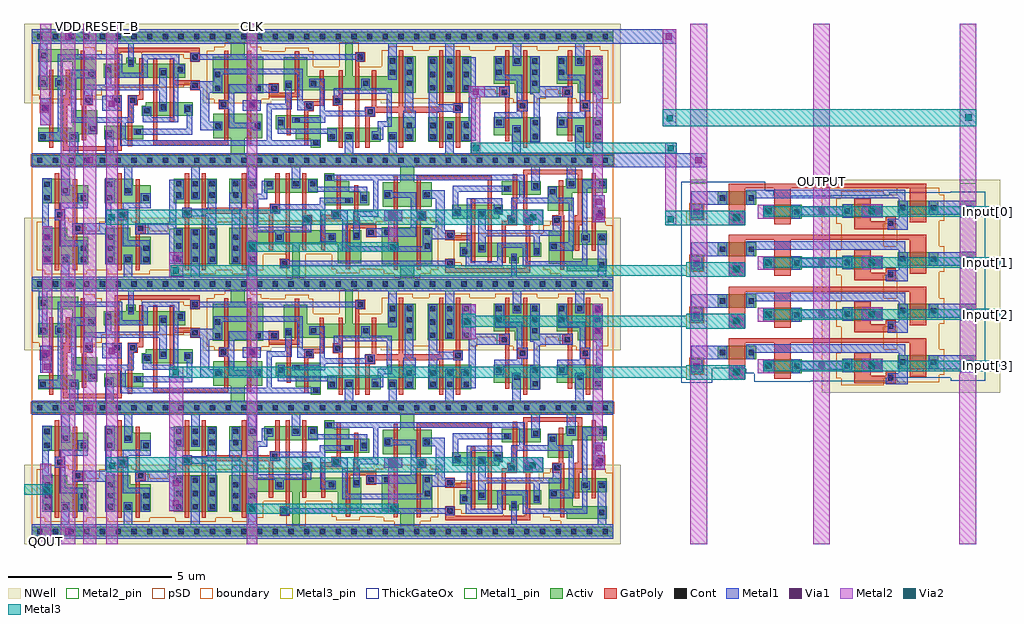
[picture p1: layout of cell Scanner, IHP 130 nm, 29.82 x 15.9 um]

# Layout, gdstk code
from math import pi, radians
import gdstk
lib = gdstk.Library(unit=1e-6, precision=1e-09)
def R(c, l, rs):  # rectangles x0, y0, x1, y1
    for r in rs: c.add(gdstk.rectangle(r[:2], r[2:], *l))
def A(c, l, x, y, w, h, nx, ny, dx, dy):  # array of equal rectangles
    R(c, l, [(x+i*dx, y+j*dy, x+i*dx+w, y+j*dy+h) for i in range(nx) for j in range(ny)])
Activ = (1, 0)
GatPoly = (5, 0)
Cont = (6, 0)
Metal1 = (8, 0)
Metal1_pin = (8, 2)
Metal2 = (10, 0)
Metal2_pin = (10, 2)
pSD = (14, 0)
Via1 = (19, 0)
Via2 = (29, 0)
Metal3 = (30, 0)
Metal3_pin = (30, 2)
NWell = (31, 0)
ThickGateOx = (44, 0)
boundary = (189, 4)

sg13g2_dfrbp_1 = lib.new_cell('sg13g2_dfrbp_1')
R(sg13g2_dfrbp_1, Activ, [(0,-0.15,13.92,0.15), (6.075,0.15,6.505,0.675), (8.52,0.39,8.82,0.635), (0.19,0.57,1.445,0.795), (9.03,0.57,10.66,0.99), (10.87,0.57,11.725,1.31), (12.105,0.57,13.425,1.31), (2.215,0.635,3.4,1.055), (8.06,0.635,8.82,0.955), (5.535,0.675,7.045,1.415), (0.19,0.795,2,0.99), (7.445,0.955,8.82,1.375), (1.245,0.99,2,1.535), (3.365,1.36,4.91,1.66), (3.475,1.66,4.91,1.78), (5.53,2.05,7.07,3.17), (10.87,2.06,11.725,2.145), (12.1,2.06,13.425,3.18), (7.695,2.145,11.725,2.565), (0.19,2.16,1.96,2.58), (2.19,2.525,4.685,2.945), (7.695,2.565,8.415,3.145), (9.57,2.565,9.81,3.63), (10.87,2.565,11.725,3.18), (1.24,2.58,1.96,3.01), (2.88,2.945,3.18,3.14), (0.19,3.01,1.96,3.16), (0.19,3.16,1.415,3.395), (6.075,3.17,6.505,3.63), (0,3.63,13.92,3.93)])
R(sg13g2_dfrbp_1, GatPoly, [(0.95,0.295,2.75,0.43), (0.53,0.39,0.66,1.455), (9.37,0.39,9.5,1.67), (9.88,0.39,10.01,3.005), (10.19,0.39,10.32,1.335), (11.21,0.39,11.34,1.45), (12.445,0.39,12.575,1.45), (12.955,0.39,13.085,1.445), (2.93,0.425,3.06,1.685), (0.95,0.43,1.08,1.685), (2.62,0.43,2.75,1.685), (8.32,0.445,8.45,1.505), (3.705,0.465,6.005,0.605), (6.575,0.495,6.705,1.555), (3.705,0.605,3.835,3.125), (5.875,0.605,6.005,1.555), (1.53,0.615,1.66,1.685), (7.785,0.765,7.915,1.92), (4.215,1.18,4.345,2.29), (10.19,1.335,10.49,1.45), (12.87,1.445,13.17,1.745), (10.19,1.45,12.575,1.635), (0.235,1.455,0.66,1.755), (8.32,1.505,8.62,1.66), (5.705,1.555,6.005,1.855), (6.575,1.555,6.875,1.855), (10.39,1.635,10.52,2.745), (11.21,1.635,11.34,3.36), (12.445,1.635,12.575,3.36), (8.32,1.66,8.925,1.805), (9.2,1.67,9.5,1.97), (0.95,1.685,1.17,1.98), (1.49,1.685,1.865,1.985), (2.45,1.685,2.75,1.985), (2.93,1.685,3.23,1.855), (12.955,1.745,13.085,3.36), (0.53,1.755,0.66,2.76), (8.795,1.805,8.925,2.745), (2.93,1.855,3.405,1.985), (5.875,1.855,6.005,3.35), (6.575,1.855,6.705,3.35), (7.245,1.92,8.165,2.07), (9.37,1.97,9.5,2.745), (1.04,1.98,1.17,2.76), (1.49,1.985,1.62,3.34), (2.54,1.985,2.67,3.305), (3.275,1.985,3.405,3.125), (7.245,2.07,7.545,2.35), (8.035,2.07,8.165,3.325), (4.835,2.14,5.135,2.29), (4.215,2.29,5.135,2.44), (4.215,2.44,4.345,3.125), (4.835,3.005,5.135,3.305), (9.88,3.005,10.18,3.305), (2.54,3.305,5.135,3.435)])
A(sg13g2_dfrbp_1, Cont, 0.16, -0.08, 0.16, 0.16, 29, 2, 0.48, 3.78)
A(sg13g2_dfrbp_1, Cont, 10.43, 0.64, 0.16, 0.16, 3, 1, 0.51, 0)
A(sg13g2_dfrbp_1, Cont, 12.175, 0.64, 0.16, 0.16, 3, 2, 0.51, 0.34)
A(sg13g2_dfrbp_1, Cont, 12.17, 2.135, 0.16, 0.16, 1, 3, 0, 0.405)
A(sg13g2_dfrbp_1, Cont, 12.685, 2.135, 0.16, 0.16, 1, 3, 0, 0.405)
A(sg13g2_dfrbp_1, Cont, 13.195, 2.135, 0.16, 0.16, 1, 3, 0, 0.405)
A(sg13g2_dfrbp_1, Cont, 11.45, 2.27, 0.16, 0.16, 1, 3, 0, 0.34)
R(sg13g2_dfrbp_1, Cont, [(8.59,0.465,8.75,0.625), (0.26,0.64,0.42,0.8), (1.19,0.64,1.35,0.8), (9.1,0.64,9.26,0.8), (9.61,0.64,9.77,0.8), (2.285,0.705,2.445,0.865), (3.17,0.795,3.33,0.955), (1.77,0.88,1.93,1.04), (5.605,0.97,5.765,1.13), (6.815,0.97,6.975,1.13), (11.45,0.98,11.61,1.14), (7.515,1.075,7.675,1.235), (8.025,1.145,8.185,1.305), (10.26,1.405,10.42,1.565), (3.435,1.43,3.595,1.59), (4.68,1.49,4.84,1.65), (12.94,1.515,13.1,1.675), (0.305,1.525,0.465,1.685), (3.945,1.55,4.105,1.71), (8.39,1.575,8.55,1.735), (5.775,1.625,5.935,1.785), (6.645,1.625,6.805,1.785), (9.27,1.74,9.43,1.9), (1.635,1.755,1.795,1.915), (2.52,1.755,2.68,1.915), (3,1.755,3.16,1.915), (5.6,2.12,5.76,2.28), (6.84,2.12,7,2.28), (7.315,2.12,7.475,2.28), (4.905,2.21,5.065,2.37), (7.765,2.215,7.925,2.375), (8.525,2.275,8.685,2.435), (10.12,2.275,10.28,2.435), (0.26,2.29,0.42,2.45), (0.77,2.29,0.93,2.45), (5.6,2.54,5.76,2.7), (1.73,2.55,1.89,2.71), (3.945,2.595,4.105,2.755), (10.94,2.61,11.1,2.77), (2.26,2.69,2.42,2.85), (4.455,2.705,4.615,2.865), (2.95,2.91,3.11,3.07), (10.94,2.95,11.1,3.11), (4.905,3.075,5.065,3.235), (9.95,3.075,10.11,3.235), (0.265,3.12,0.425,3.28)])
R(sg13g2_dfrbp_1, Metal1, [(0,-0.22,13.92,0.22), (1.14,0.22,1.41,0.85), (2.235,0.22,2.495,0.915), (9.56,0.22,9.82,0.85), (10.91,0.22,11.15,0.85), (12.635,0.22,12.895,1.19), (2.705,0.44,8.8,0.605), (0.21,0.59,0.95,0.85), (9.05,0.59,9.31,0.805), (11.4,0.59,11.66,0.99), (12.125,0.59,12.385,1.485), (13.125,0.59,13.56,1.19), (2.705,0.605,2.875,1.15), (7.17,0.605,7.33,1.555), (8.54,0.605,8.8,0.625), (10.38,0.625,10.73,0.885), (3.12,0.785,4.905,0.96), (7.51,0.805,9.31,0.965), (1.72,0.815,1.98,1.15), (0.785,0.85,0.95,2.24), (10.57,0.885,10.73,1.03), (5.145,0.92,5.815,1.18), (6.755,0.92,6.99,0.98), (4.725,0.96,4.905,1.44), (7.51,0.965,7.725,1.31), (6.02,0.98,6.99,1.14), (11.34,0.99,11.725,1.52), (10.57,1.03,11,1.19), (0.255,1.07,0.6,1.89), (6.02,1.14,6.18,1.575), (6.755,1.14,6.99,1.18), (7.96,1.145,8.97,1.315), (1.2,1.15,3.11,1.31), (3.385,1.16,4.48,1.32), (5.145,1.18,5.42,2.07), (10.84,1.19,11,2.035), (13.35,1.19,13.56,2.095), (1.2,1.31,1.36,2.5), (2.95,1.31,3.11,1.705), (8.79,1.315,8.97,1.35), (3.385,1.32,3.645,1.64), (4.32,1.32,4.48,2.655), (8.79,1.35,10.47,1.51), (4.66,1.44,4.905,1.7), (12.87,1.445,13.17,1.485), (12.125,1.485,13.17,1.71), (3.895,1.5,4.115,2.145), (2.145,1.51,2.75,1.965), (8.79,1.51,8.95,2.225), (10.165,1.51,10.47,1.625), (6.45,1.52,6.99,1.84), (11.4,1.52,11.66,3.155), (8.115,1.525,8.6,1.785), (7.17,1.555,7.935,1.725), (5.725,1.575,6.18,1.835), (9.22,1.69,9.48,2.035), (1.585,1.705,1.845,2.145), (2.95,1.705,3.21,1.965), (12.125,1.71,12.385,3.155), (12.87,1.71,13.17,1.745), (7.745,1.725,7.935,2.425), (8.115,1.785,8.275,2.63), (6.02,1.835,6.18,2.07), (9.22,2.035,11,2.195), (5.145,2.07,5.81,2.16), (6.02,2.07,7.525,2.33), (13.145,2.095,13.56,3.155), (12.63,2.1,12.9,3.56), (1.585,2.145,4.115,2.305), (4.855,2.16,5.81,2.42), (10.07,2.195,10.33,2.495), (8.475,2.225,8.95,2.485), (0.215,2.24,0.475,3.56), (0.72,2.24,0.98,2.5), (2.245,2.305,4.115,2.315), (2.245,2.315,2.425,2.9), (3.895,2.315,4.115,2.805), (5.55,2.42,5.81,2.63), (10.89,2.46,11.15,3.56), (0.785,2.5,0.95,3.08), (1.2,2.5,1.94,2.76), (2.605,2.52,3.535,2.68), (5.55,2.63,8.275,2.8), (4.32,2.655,4.665,2.915), (2.605,2.68,2.765,3.08), (3.365,2.68,3.535,3.08), (2.945,2.86,3.115,3.56), (4.32,2.915,4.505,3.08), (4.855,3.025,5.115,3.075), (9.91,3.025,10.16,3.075), (4.855,3.075,10.16,3.235), (0.785,3.08,2.765,3.24), (3.365,3.08,4.505,3.24), (4.855,3.235,5.115,3.285), (9.91,3.235,10.16,3.285), (0,3.56,13.92,4)])
R(sg13g2_dfrbp_1, Metal1_pin, [(0,-0.22,13.92,0.22), (11.34,0.99,11.725,1.52), (0.255,1.07,0.6,1.89), (2.145,1.51,2.75,1.965), (6.45,1.52,6.99,1.84), (13.145,2.095,13.56,3.155), (0,3.56,13.92,4)])
R(sg13g2_dfrbp_1, pSD, [(-0.03,-0.18,13.95,0.18), (5.575,1.75,7.005,1.87), (10.91,1.76,11.64,1.845), (12.145,1.76,13.385,1.88), (7.735,1.845,11.64,1.88), (0.23,1.86,1.92,1.98), (5.35,1.87,7.25,1.965), (7.735,1.88,13.605,1.965), (5.35,1.965,13.605,2.865), (0.01,1.98,2.14,2.225), (0.01,2.225,4.645,2.345), (0.01,2.345,4.865,3.125), (5.35,2.865,8.595,3.325), (9.39,2.865,9.99,3.6), (10.69,2.865,13.605,3.36), (0.01,3.125,4.645,3.245), (0.01,3.245,2.14,3.34), (2.7,3.245,3.36,3.32), (5.35,3.325,7.25,3.35), (7.735,3.325,8.465,3.445), (0.01,3.34,1.92,3.46), (5.575,3.35,7.005,3.47), (10.91,3.36,11.64,3.48), (12.145,3.36,13.385,3.48), (0.01,3.46,1.595,3.575), (5.895,3.47,6.685,3.6)])
R(sg13g2_dfrbp_1, NWell, [(5.22,1.74,7.315,1.835), (-0.24,1.75,0.935,1.85), (10.655,1.75,14.16,1.835), (5.22,1.835,14.16,2.215), (-0.24,1.85,2.27,2.215), (-0.24,2.215,14.16,4.17)])
R(sg13g2_dfrbp_1, boundary, [(0,0,13.92,3.78)])
sg13g2_dfrbp_1.add(gdstk.Label('D', (0.427,1.48), layer=8, texttype=25))
sg13g2_dfrbp_1.add(gdstk.Label('Q', (13.352,2.625), layer=8, texttype=25))
sg13g2_dfrbp_1.add(gdstk.Label('CLK', (6.72,1.68), layer=8, texttype=25))
sg13g2_dfrbp_1.add(gdstk.Label('VSS', (6.96,0), layer=8, texttype=25))
sg13g2_dfrbp_1.add(gdstk.Label('RESET_B', (2.447,1.737), layer=8, texttype=25))
sg13g2_dfrbp_1.add(gdstk.Label('Q_N', (11.532,1.255), layer=8, texttype=25))
sg13g2_dfrbp_1.add(gdstk.Label('VDD', (6.96,3.78), layer=8, texttype=25))

sg13g2_buf_1 = lib.new_cell('sg13g2_buf_1')
R(sg13g2_buf_1, Activ, [(0,-0.15,1.92,0.15), (0.74,0.57,1.61,0.76), (0.2,0.76,1.61,1.31), (0.84,2.06,1.595,2.34), (0.2,2.34,1.595,3.18), (0,3.63,1.92,3.93)])
R(sg13g2_buf_1, GatPoly, [(1.09,0.39,1.22,1.5), (0.54,0.58,0.67,1.93), (0.92,1.5,1.22,1.83), (1.09,1.83,1.22,3.36), (0.365,1.93,0.67,2.23), (0.54,2.23,0.67,3.36)])
A(sg13g2_buf_1, Cont, 0.16, -0.08, 0.16, 0.16, 4, 2, 0.48, 3.78)
A(sg13g2_buf_1, Cont, 1.365, 2.27, 0.16, 0.16, 1, 3, 0, 0.34)
R(sg13g2_buf_1, Cont, [(1.38,0.65,1.54,0.81), (0.82,0.85,0.98,1.01), (1.38,1.065,1.54,1.225), (0.27,1.075,0.43,1.235), (0.99,1.585,1.15,1.745), (0.435,2,0.595,2.16), (0.27,2.61,0.43,2.77), (0.27,2.95,0.43,3.11), (0.82,2.95,0.98,3.11)])
R(sg13g2_buf_1, Metal1, [(0,-0.22,1.92,0.22), (0.765,0.22,1.015,1.07), (1.31,0.55,1.6,1.29), (0.215,1,0.515,1.29), (0.215,1.29,1.07,1.465), (1.41,1.29,1.6,2.02), (0.9,1.465,1.07,1.5), (0.9,1.5,1.225,1.83), (0.9,1.83,1.07,2.44), (0.285,1.93,0.68,2.26), (1.3,2.02,1.6,3.18), (0.24,2.44,1.07,2.62), (0.24,2.62,0.51,3.18), (0.77,2.89,1.03,3.56), (0,3.56,1.92,4)])
R(sg13g2_buf_1, Metal1_pin, [(0,-0.22,1.92,0.22), (0.285,1.93,0.68,2.26), (1.315,2.07,1.58,2.945), (0,3.56,1.92,4)])
R(sg13g2_buf_1, pSD, [(-0.03,-0.18,1.95,0.18), (0.79,1.76,1.52,1.88), (0.66,1.88,1.775,2.04), (0.24,2.04,1.775,2.16), (0.02,2.16,1.775,3.36), (0.24,3.36,1.52,3.48)])
R(sg13g2_buf_1, NWell, [(-0.24,1.75,2.16,4.17)])
R(sg13g2_buf_1, boundary, [(0,0,1.92,3.78)])
sg13g2_buf_1.add(gdstk.Label('A', (0.482,2.095), layer=8, texttype=25))
sg13g2_buf_1.add(gdstk.Label('X', (1.447,2.507), layer=8, texttype=25))
sg13g2_buf_1.add(gdstk.Label('VDD', (0.96,3.78), layer=8, texttype=25))
sg13g2_buf_1.add(gdstk.Label('VSS', (0.96,0), layer=8, texttype=25))

c_4tgatevinj = lib.new_cell('4TgateVinj')
R(c_4tgatevinj, Activ, [(9.06,-4.14,9.47,-3.69), (6.06,-4.12,7.24,-3.7), (3.58,-4.1,4.82,-3.68), (0.72,-4.09,1.23,-3.57), (1.88,-4,3.12,-3.58), (7.45,-3.7,8.63,-3.28), (9.06,-2.57,9.47,-2.12), (6.06,-2.55,7.24,-2.13), (3.58,-2.53,4.82,-2.11), (0.72,-2.52,1.23,-2), (1.88,-2.43,3.12,-2.01), (7.45,-2.13,8.63,-1.71), (9.06,-0.99,9.47,-0.54), (6.06,-0.97,7.24,-0.55), (3.58,-0.95,4.82,-0.53), (0.72,-0.94,1.23,-0.42), (1.88,-0.85,3.12,-0.43), (7.45,-0.55,8.63,-0.13), (9.06,0.58,9.47,1.03), (6.06,0.6,7.24,1.02), (3.58,0.62,4.82,1.04), (0.72,0.63,1.23,1.15), (1.88,0.72,3.12,1.14), (7.45,1.02,8.63,1.44)])
R(c_4tgatevinj, GatPoly, [(3.19,-4.44,4.45,-4.2), (7.79,-4.33,8.29,-3.2), (6.4,-4.3,6.9,-3.2), (2.25,-4.23,2.75,-3.2), (3.19,-4.2,3.49,-4.07), (3.95,-4.2,4.45,-3.5), (2.25,-3.2,8.29,-3.05), (3.19,-2.87,4.45,-2.63), (7.79,-2.76,8.29,-1.63), (6.4,-2.73,6.9,-1.63), (2.25,-2.66,2.75,-1.63), (3.19,-2.63,3.49,-2.5), (3.95,-2.63,4.45,-1.93), (2.25,-1.63,8.29,-1.48), (3.19,-1.29,4.45,-1.05), (7.79,-1.18,8.29,-0.05), (6.4,-1.15,6.9,-0.05), (2.25,-1.08,2.75,-0.05), (3.19,-1.05,3.49,-0.92), (3.95,-1.05,4.45,-0.35), (2.25,-0.05,8.29,0.1), (3.19,0.28,4.45,0.52), (7.79,0.39,8.29,1.52), (6.4,0.42,6.9,1.52), (2.25,0.49,2.75,1.52), (3.19,0.52,3.49,0.65), (3.95,0.52,4.45,1.22), (2.25,1.52,8.29,1.67)])
R(c_4tgatevinj, Cont, [(3.26,-4.34,3.42,-4.18), (7.97,-4.17,8.13,-4.01), (9.185,-4,9.345,-3.84), (6.13,-3.99,6.29,-3.83), (7.01,-3.99,7.17,-3.83), (3.66,-3.97,3.82,-3.81), (4.59,-3.97,4.75,-3.81), (0.89,-3.895,1.05,-3.735), (1.95,-3.87,2.11,-3.71), (2.89,-3.86,3.05,-3.7), (7.52,-3.57,7.68,-3.41), (8.4,-3.57,8.56,-3.41), (3.26,-2.77,3.42,-2.61), (7.97,-2.6,8.13,-2.44), (9.185,-2.43,9.345,-2.27), (6.13,-2.42,6.29,-2.26), (7.01,-2.42,7.17,-2.26), (3.66,-2.4,3.82,-2.24), (4.59,-2.4,4.75,-2.24), (0.89,-2.325,1.05,-2.165), (1.95,-2.3,2.11,-2.14), (2.89,-2.29,3.05,-2.13), (7.52,-2,7.68,-1.84), (8.4,-2,8.56,-1.84), (3.26,-1.19,3.42,-1.03), (7.97,-1.02,8.13,-0.86), (9.185,-0.85,9.345,-0.69), (6.13,-0.84,6.29,-0.68), (7.01,-0.84,7.17,-0.68), (3.66,-0.82,3.82,-0.66), (4.59,-0.82,4.75,-0.66), (0.89,-0.745,1.05,-0.585), (1.95,-0.72,2.11,-0.56), (2.89,-0.71,3.05,-0.55), (7.52,-0.42,7.68,-0.26), (8.4,-0.42,8.56,-0.26), (3.26,0.38,3.42,0.54), (7.97,0.55,8.13,0.71), (9.185,0.72,9.345,0.88), (6.13,0.73,6.29,0.89), (7.01,0.73,7.17,0.89), (3.66,0.75,3.82,0.91), (4.59,0.75,4.75,0.91), (0.89,0.825,1.05,0.985), (1.95,0.85,2.11,1.01), (2.89,0.86,3.05,1.02), (7.52,1.15,7.68,1.31), (8.4,1.15,8.56,1.31)])
R(c_4tgatevinj, Metal1, [(2.82,-4.46,3.49,-4.26), (7.79,-4.33,8.29,-3.88), (2.82,-4.26,3.43,-4.13), (2.82,-4.13,3.1,-3.58), (6.12,-4.12,6.36,-4.02), (6.9,-4.12,7.24,-3.7), (3.61,-4.1,3.89,-3.68), (4.51,-4.1,4.79,-4.02), (9.09,-4.1,9.43,-3.7), (0.72,-4.09,1.23,-4), (4.51,-4.02,6.36,-3.76), (0.72,-4,2.18,-3.58), (4.51,-3.76,4.79,-3.68), (6.12,-3.76,6.36,-3.7), (7.51,-3.7,7.75,-3.5), (8.33,-3.7,9.43,-3.28), (0.72,-3.58,1.23,-3.57), (2.89,-3.58,3.1,-3.5), (2.89,-3.5,7.75,-3.24), (2.82,-2.89,3.43,-2.56), (7.79,-2.76,8.29,-2.31), (2.82,-2.56,3.1,-2.01), (6.12,-2.55,6.36,-2.45), (6.9,-2.55,7.24,-2.13), (3.61,-2.53,3.89,-2.11), (4.51,-2.53,4.79,-2.45), (9.09,-2.53,9.43,-2.13), (0.72,-2.52,1.23,-2.43), (4.51,-2.45,6.36,-2.19), (0.72,-2.43,2.18,-2.01), (4.51,-2.19,4.79,-2.11), (6.12,-2.19,6.36,-2.13), (7.51,-2.13,7.75,-1.93), (8.33,-2.13,9.43,-1.71), (0.72,-2.01,1.23,-2), (2.89,-2.01,3.1,-1.93), (2.89,-1.93,7.75,-1.67), (2.82,-1.31,3.49,-1.11), (7.79,-1.18,8.29,-0.73), (2.82,-1.11,3.43,-0.98), (2.82,-0.98,3.1,-0.43), (6.12,-0.97,6.36,-0.87), (6.9,-0.97,7.24,-0.55), (3.61,-0.95,3.89,-0.53), (4.51,-0.95,4.79,-0.87), (9.09,-0.95,9.43,-0.55), (0.72,-0.94,1.23,-0.85), (4.51,-0.87,6.36,-0.61), (0.72,-0.85,2.18,-0.43), (4.51,-0.61,4.79,-0.53), (6.12,-0.61,6.36,-0.55), (7.51,-0.55,7.75,-0.35), (8.33,-0.55,9.43,-0.13), (0.72,-0.43,1.23,-0.42), (2.89,-0.43,3.1,-0.35), (2.89,-0.35,7.75,-0.09), (2.82,0.26,3.43,0.59), (7.79,0.39,8.29,0.84), (2.82,0.59,3.1,1.14), (6.12,0.6,6.36,0.7), (6.9,0.6,7.24,1.02), (3.61,0.62,3.89,1.04), (4.51,0.62,4.79,0.7), (9.09,0.62,9.43,1.02), (0.72,0.63,1.23,0.72), (4.51,0.7,6.36,0.96), (0.72,0.72,2.18,1.14), (4.51,0.96,4.79,1.04), (6.12,0.96,6.36,1.02), (7.51,1.02,7.75,1.22), (8.33,1.02,9.43,1.44), (0.72,1.14,1.23,1.15), (2.89,1.14,3.1,1.22), (2.89,1.22,7.75,1.48)])
R(c_4tgatevinj, Metal2, [(0.72,-4.72,1.23,1.78), (5.2,-4.72,5.71,1.78), (8.95,-4.72,9.47,1.78), (7.79,-4.33,8.29,-3.88), (6.9,-4.12,7.4,-3.7), (3.58,-4.1,4.23,-3.68), (7.79,-2.76,8.29,-2.31), (6.9,-2.55,7.4,-2.13), (3.58,-2.53,4.23,-2.11), (7.79,-1.18,8.29,-0.73), (6.9,-0.97,7.4,-0.55), (3.58,-0.95,4.23,-0.53), (7.79,0.39,8.29,0.84), (6.9,0.6,7.4,1.02), (3.58,0.62,4.23,1.04)])
R(c_4tgatevinj, Metal2_pin, [(0.72,1.67,1.23,1.78), (5.2,1.67,5.71,1.78), (8.95,1.67,9.47,1.78)])
R(c_4tgatevinj, pSD, [(3.55,-4.5,4.85,-4.28), (1.85,-4.4,3.15,-4.28), (1.85,-4.28,5,-4.18), (1.7,-4.18,5,-3.5), (9.03,-4.17,9.5,-3.66), (1.7,-3.5,4.85,-3.4), (1.85,-3.4,3.15,-2.71), (3.55,-3.4,4.85,-2.71), (1.85,-2.71,5,-2.61), (1.7,-2.61,5,-1.93), (9.03,-2.6,9.5,-2.09), (1.7,-1.93,4.85,-1.83), (1.85,-1.83,3.15,-1.13), (3.55,-1.83,4.85,-1.13), (1.85,-1.13,5,-1.03), (1.7,-1.03,5,-0.35), (9.03,-1.02,9.5,-0.51), (1.7,-0.35,4.85,-0.25), (1.85,-0.25,3.15,0.44), (3.55,-0.25,4.85,0.44), (1.85,0.44,5,0.54), (1.7,0.54,5,1.22), (9.03,0.55,9.5,1.06), (1.7,1.22,4.85,1.32), (1.85,1.32,3.15,1.54), (3.55,1.32,4.85,1.44)])
R(c_4tgatevinj, Via1, [(7.955,-4.185,8.145,-3.995), (9.175,-4.01,9.365,-3.82), (3.665,-3.985,3.855,-3.795), (6.975,-3.985,7.165,-3.795), (5.35,-3.975,5.54,-3.785), (0.875,-3.91,1.065,-3.72), (7.955,-2.615,8.145,-2.425), (9.175,-2.44,9.365,-2.25), (3.665,-2.415,3.855,-2.225), (6.975,-2.415,7.165,-2.225), (5.35,-2.405,5.54,-2.215), (0.875,-2.34,1.065,-2.15), (7.955,-1.035,8.145,-0.845), (9.175,-0.86,9.365,-0.67), (3.665,-0.835,3.855,-0.645), (6.975,-0.835,7.165,-0.645), (5.35,-0.825,5.54,-0.635), (0.875,-0.76,1.065,-0.57), (7.955,0.535,8.145,0.725), (9.175,0.71,9.365,0.9), (3.665,0.735,3.855,0.925), (6.975,0.735,7.165,0.925), (5.35,0.745,5.54,0.935), (0.875,0.81,1.065,1)])
R(c_4tgatevinj, Via2, [(7.955,-4.185,8.145,-3.995), (6.975,-3.995,7.165,-3.805), (3.825,-3.985,4.015,-3.795), (7.955,-2.615,8.145,-2.425), (6.975,-2.425,7.165,-2.235), (3.825,-2.415,4.015,-2.225), (7.955,-1.035,8.145,-0.845), (6.975,-0.845,7.165,-0.655), (3.825,-0.835,4.015,-0.645), (7.955,0.535,8.145,0.725), (6.975,0.725,7.165,0.915), (3.825,0.735,4.015,0.925)])
R(c_4tgatevinj, Metal3, [(7.79,-4.33,9.58,-3.88), (0,-4.06,7.22,-3.74), (7.79,-2.76,9.58,-2.31), (0,-2.49,7.22,-2.17), (7.79,-1.18,9.58,-0.73), (0,-0.91,7.22,-0.59), (7.79,0.39,9.58,0.84), (0,0.66,7.22,0.98)])
R(c_4tgatevinj, Metal3_pin, [(9.47,-4.33,9.58,-3.88), (0,-4.06,0.1,-3.74), (9.47,-2.76,9.58,-2.31), (0,-2.49,0.1,-2.17), (9.47,-1.18,9.58,-0.73), (0,-0.91,0.1,-0.59), (9.47,0.39,9.58,0.84), (0,0.66,0.1,0.98)])
R(c_4tgatevinj, NWell, [(0,-4.72,5.44,1.78)])
R(c_4tgatevinj, ThickGateOx, [(8.79,-4.41,9.74,-3.97), (5.79,-4.39,7.51,-4.37), (3.31,-4.37,7.51,-4.27), (0.45,-4.36,1.5,-4.27), (0.45,-4.27,7.51,-4.13), (0.45,-4.13,7.775,-3.97), (0.45,-3.97,9.74,1.29), (0.45,1.29,5.925,1.3), (6.915,1.29,9.74,1.45), (0.45,1.3,5.09,1.31), (0.45,1.31,3.39,1.41), (0.45,1.41,1.5,1.42), (7.18,1.45,9.74,1.725)])
c_4tgatevinj.add(gdstk.Label('INPUT[0]', (0.05,0.82), layer=30, texttype=25))
c_4tgatevinj.add(gdstk.Label('INPUT[1]', (0.05,-0.75), layer=30, texttype=25))
c_4tgatevinj.add(gdstk.Label('INPUT[2]', (0.05,-2.33), layer=30, texttype=25))
c_4tgatevinj.add(gdstk.Label('INPUT[3]', (0.05,-3.9), layer=30, texttype=25))
c_4tgatevinj.add(gdstk.Label('SELECT[0]', (9.525,0.615), layer=30, texttype=25))
c_4tgatevinj.add(gdstk.Label('SELECT[1]', (9.525,-0.955), layer=30, texttype=25))
c_4tgatevinj.add(gdstk.Label('SELECT[2]', (9.525,-2.535), layer=30, texttype=25))
c_4tgatevinj.add(gdstk.Label('SELECT[3]', (9.525,-4.105), layer=30, texttype=25))
c_4tgatevinj.add(gdstk.Label('VINJ', (0.975,1.725), layer=10, texttype=25))
c_4tgatevinj.add(gdstk.Label('OUTPUT', (5.455,1.725), layer=10, texttype=25))
c_4tgatevinj.add(gdstk.Label('GND', (9.21,1.725), layer=10, texttype=25))

scanner = lib.new_cell('Scanner')
R(scanner, Metal1, [(0.98,8.52,1.25,8.8), (4.28,9.4,4.52,9.65), (0.36,9.83,0.58,10.05), (4.28,10.01,4.52,10.26), (1.24,10.18,2.28,10.51), (3.16,10.18,4.2,10.51), (15.17,10.54,15.44,10.82), (10.92,10.63,11.15,10.85), (17.21,10.64,17.43,10.86), (17.21,11.1,17.43,11.32), (1.63,12.3,1.9,12.58), (0.36,13.59,0.56,13.79), (0.35,14,0.55,14.2), (6.62,14.03,6.84,14.25), (2.33,14.06,2.56,14.28), (13.56,14.37,14.6,14.7), (15.48,14.37,16.52,14.7), (17.19,14.69,17.39,14.89), (13.19,14.96,13.42,15.19), (17.19,15.34,17.39,15.54), (1,16.07,1.25,16.36), (0.38,16.88,0.58,17.08), (4.29,16.89,4.51,17.13), (0.37,17.55,0.57,17.75), (1.57,17.74,2.24,18.07), (3.16,17.74,4.41,18.07), (15.21,18.15,15.42,18.37), (17.22,18.17,17.43,18.38), (10.91,18.19,11.14,18.42), (17.22,18.63,17.43,18.84), (17.68,19.78,20.63,20.22), (1.63,19.86,1.9,20.14), (0.32,21.49,0.53,21.71), (6.62,21.59,6.84,21.81), (2.33,21.62,2.56,21.84), (13.56,21.93,14.6,21.98), (15.48,21.93,16.52,22.26), (13.45,21.98,14.6,22.2), (13.56,22.2,14.6,22.26), (17.18,22.24,17.4,22.46), (17.19,22.9,17.39,23.1), (17.68,23.56,19.69,24), (0.98,23.64,1.25,23.92)])
R(scanner, Metal2, [(0.25,8.27,0.6,9.78), (0.89,8.27,1.33,8.52), (1.57,8.27,1.96,24.17), (2.28,8.27,2.63,24.17), (6.57,8.27,6.89,24.17), (20.11,8.27,20.63,13.3), (23.87,8.27,24.38,12.92), (28.34,8.27,28.85,13.45), (0.89,8.52,0.97,8.8), (0.98,8.52,1.33,8.8), (0.89,8.8,1.33,24.17), (10.89,9.2,11.18,10.6), (4.2,9.28,4.62,13.69), (0.25,9.78,0.62,10.3), (0.25,10.3,0.6,10.73), (15.01,10.47,15.62,10.93), (17.14,10.55,17.51,11.37), (10.77,10.6,11.31,10.92), (17.14,11.37,17.44,15.62), (0.32,13.51,0.62,17.98), (13.14,14.53,13.56,14.9), (13.14,14.9,13.57,15.31), (13.14,15.31,13.56,15.6), (4.2,16.44,4.62,17.19), (10.89,17.2,11.19,17.49), (10.89,17.49,11.16,18.14), (19.35,18.02,19.69,20.53), (15.01,18.03,15.62,18.49), (17.14,18.11,17.51,18.93), (10.77,18.14,11.31,18.48), (17.14,18.93,17.45,23.19), (20.11,19.11,20.63,24.17), (23.87,19.29,24.38,24.17), (28.35,19.39,28.86,24.17), (13.42,20.22,13.7,21.93), (19.27,21.04,19.69,24), (0.25,21.07,0.6,24.17), (13.35,21.93,13.83,22.26)])
R(scanner, Metal2_pin, [(0.25,8.27,0.6,8.44), (23.87,19.29,24.38,19.4), (0.25,24,0.6,24.17), (0.89,24,1.33,24.17), (1.57,24,1.96,24.17), (2.28,24,2.63,24.17), (6.57,24,6.89,24.17)])
R(scanner, pSD, [(1.9,9.08,2.065,10.28), (3.82,9.08,4.155,10.28), (13.605,14.6,13.94,15.8), (15.695,14.6,15.86,15.8), (1.9,16.64,2.065,17.84), (3.82,16.64,4.155,17.84), (13.605,22.16,13.94,23.36), (15.695,22.16,15.86,23.36)])
R(scanner, Via1, [(1.02,8.565,1.21,8.755), (4.305,9.43,4.495,9.62), (0.375,9.845,0.565,10.035), (4.305,10.04,4.495,10.23), (15.21,10.585,15.4,10.775), (10.94,10.645,11.13,10.835), (17.225,10.655,17.415,10.845), (17.225,11.115,17.415,11.305), (1.67,12.345,1.86,12.535), (0.365,13.595,0.555,13.785), (0.355,14.005,0.545,14.195), (6.635,14.045,6.825,14.235), (2.35,14.075,2.54,14.265), (17.195,14.695,17.385,14.885), (13.21,14.98,13.4,15.17), (17.195,15.345,17.385,15.535), (1.03,16.12,1.22,16.31), (0.385,16.885,0.575,17.075), (4.305,16.915,4.495,17.105), (0.375,17.555,0.565,17.745), (15.22,18.165,15.41,18.355), (17.23,18.18,17.42,18.37), (10.93,18.21,11.12,18.4), (17.23,18.64,17.42,18.83), (1.67,19.905,1.86,20.095), (20.275,19.905,20.465,20.095), (0.33,21.505,0.52,21.695), (6.635,21.605,6.825,21.795), (2.35,21.635,2.54,21.825), (13.465,21.995,13.655,22.185), (17.195,22.255,17.385,22.445), (17.195,22.905,17.385,23.095), (1.02,23.685,1.21,23.875), (19.36,23.69,19.55,23.88)])
R(scanner, Via2, [(10.945,9.255,11.135,9.445), (6.635,9.26,6.825,9.45), (0.37,9.84,0.56,10.03), (2.365,10.575,2.555,10.765), (15.21,10.585,15.4,10.775), (4.305,13.435,4.495,13.625), (13.21,14.98,13.4,15.17), (4.305,16.535,4.495,16.725), (10.945,17.245,11.135,17.435), (6.64,17.26,6.83,17.45), (19.425,18.105,19.615,18.295), (2.35,18.165,2.54,18.355), (15.22,18.165,15.41,18.355), (19.425,20.27,19.615,20.46), (13.47,20.28,13.66,20.47), (19.395,21.19,19.585,21.38), (28.52,21.21,28.71,21.4)])
A(scanner, Metal3, 28.86, 15.14, 0.72, 0.32, 1, 3, 0, 1.57)
R(scanner, Metal3, [(6.57,9.2,11.19,9.5), (-0.24,9.78,0.62,10.1), (2.28,10.47,15.62,10.93), (4.2,13.35,20.01,13.69), (28.86,13.56,29.58,13.88), (13.14,14.9,13.57,14.92), (13.14,14.92,20,15.25), (13.14,15.25,13.57,15.31), (4.24,16.47,20,16.8), (6.57,17.2,11.19,17.49), (19.35,18.01,20.09,18.46), (2.28,18.03,15.62,18.49), (13.41,20.22,19.7,20.53), (19.27,21.04,28.85,21.56)])
A(scanner, Metal3_pin, 28.86, 15.14, 0.72, 0.32, 1, 3, 0, 1.57)
R(scanner, Metal3_pin, [(28.86,13.56,29.58,13.88)])
scanner.add(gdstk.Reference(sg13g2_dfrbp_1, (17.76,12.44), rotation=pi))
scanner.add(gdstk.Reference(sg13g2_dfrbp_1, (0,12.44)))
scanner.add(gdstk.Reference(sg13g2_dfrbp_1, (17.76,20), rotation=pi))
scanner.add(gdstk.Reference(sg13g2_dfrbp_1, (0,20)))
scanner.add(gdstk.Reference(sg13g2_buf_1, (13.92,12.44)))
scanner.add(gdstk.Reference(sg13g2_buf_1, (15.84,12.44)))
scanner.add(gdstk.Reference(sg13g2_buf_1, (1.92,12.44), rotation=pi))
scanner.add(gdstk.Reference(sg13g2_buf_1, (3.84,12.44), rotation=pi))
scanner.add(gdstk.Reference(sg13g2_buf_1, (3.84,20), rotation=pi))
scanner.add(gdstk.Reference(sg13g2_buf_1, (1.92,20), rotation=pi))
scanner.add(gdstk.Reference(sg13g2_buf_1, (15.84,20)))
scanner.add(gdstk.Reference(sg13g2_buf_1, (13.92,20)))
scanner.add(gdstk.Reference(c_4tgatevinj, (29.58,17.62), rotation=pi, x_reflection=True))
scanner.add(gdstk.Label('Input[0]', (29.22,18.44), layer=30, texttype=25))
scanner.add(gdstk.Label('Input[1]', (29.22,16.87), layer=30, texttype=25))
scanner.add(gdstk.Label('Input[2]', (29.22,15.3), layer=30, texttype=25))
scanner.add(gdstk.Label('Input[3]', (29.22,13.72), layer=30, texttype=25))
scanner.add(gdstk.Label('OUTPUT', (24.125,19.345), layer=10, texttype=25))
scanner.add(gdstk.Label('RESET_B', (2.455,24.085), layer=10, texttype=25))
scanner.add(gdstk.Label('CLK', (6.73,24.085), layer=10, texttype=25))
scanner.add(gdstk.Label('VDD', (1.11,24.085), layer=10, texttype=25))
scanner.add(gdstk.Label('VSS', (1.765,24.085), layer=10, texttype=25))
scanner.add(gdstk.Label('DIN', (0.425,24.085), layer=10, texttype=25))
scanner.add(gdstk.Label('QOUT', (0.425,8.355), layer=10, texttype=25))

lib.write_gds('Scanner.gds')
